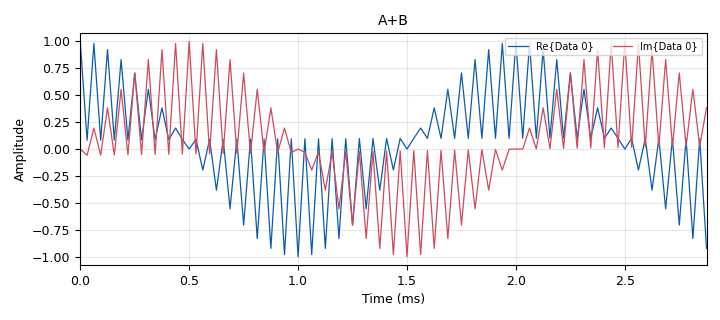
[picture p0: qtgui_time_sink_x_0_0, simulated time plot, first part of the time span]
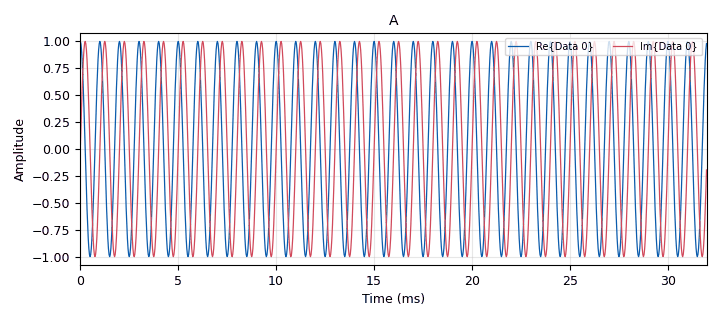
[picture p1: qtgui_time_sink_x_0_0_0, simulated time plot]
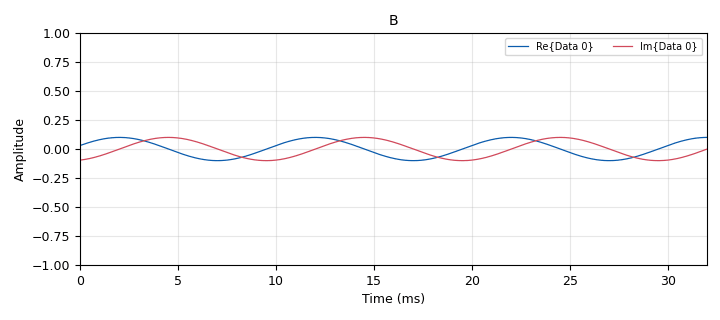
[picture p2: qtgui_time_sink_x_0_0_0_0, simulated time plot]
options:
  parameters:
    author: btfz
    generate_options: qt_gui
    id: Fundamentals4
    output_language: python
    title: Not titled yet
  states: {}

blocks:
- name: samp_rate
  id: variable
  parameters:
    value: '32000'
  states: {}
- name: analog_sig_source_x_0_0_0_0_0
  id: analog_sig_source_x
  parameters:
    amp: '1'
    freq: '1000'
    offset: '0'
    phase: '0'
    samp_rate: samp_rate
    type: complex
    waveform: analog.GR_COS_WAVE
  states: {}
- name: analog_sig_source_x_0_0_0_0_0_0
  id: analog_sig_source_x
  parameters:
    amp: '0.1'
    freq: '100'
    offset: '0'
    phase: '0'
    samp_rate: samp_rate
    type: complex
    waveform: analog.GR_COS_WAVE
  states: {}
- name: blocks_streams_to_vector_0
  id: blocks_streams_to_vector
  parameters:
    type: complex
  states: {}
- name: blocks_vector_to_stream_0
  id: blocks_vector_to_stream
  parameters:
    type: complex
  states: {}
- name: blocks_vector_to_streams_0
  id: blocks_vector_to_streams
  parameters:
    type: complex
  states: {}
- name: qtgui_time_sink_x_0_0
  id: qtgui_time_sink_x
  parameters:
    name: A+B
    size: '1024'
    srate: samp_rate
    type: complex
  states: {}
- name: qtgui_time_sink_x_0_0_0
  id: qtgui_time_sink_x
  parameters:
    name: A
    size: '1024'
    srate: samp_rate
    type: complex
  states: {}
- name: qtgui_time_sink_x_0_0_0_0
  id: qtgui_time_sink_x
  parameters:
    name: B
    size: '1024'
    srate: samp_rate
    type: complex
  states: {}

connections:
- [analog_sig_source_x_0_0_0_0_0, '0', blocks_streams_to_vector_0, '0']
- [analog_sig_source_x_0_0_0_0_0_0, '0', blocks_streams_to_vector_0, '1']
- [blocks_streams_to_vector_0, '0', blocks_vector_to_stream_0, '0']
- [blocks_streams_to_vector_0, '0', blocks_vector_to_streams_0, '0']
- [blocks_vector_to_stream_0, '0', qtgui_time_sink_x_0_0, '0']
- [blocks_vector_to_streams_0, '0', qtgui_time_sink_x_0_0_0, '0']
- [blocks_vector_to_streams_0, '1', qtgui_time_sink_x_0_0_0_0, '0']

metadata:
  file_format: 1
  grc_version: 3.10.12.0
